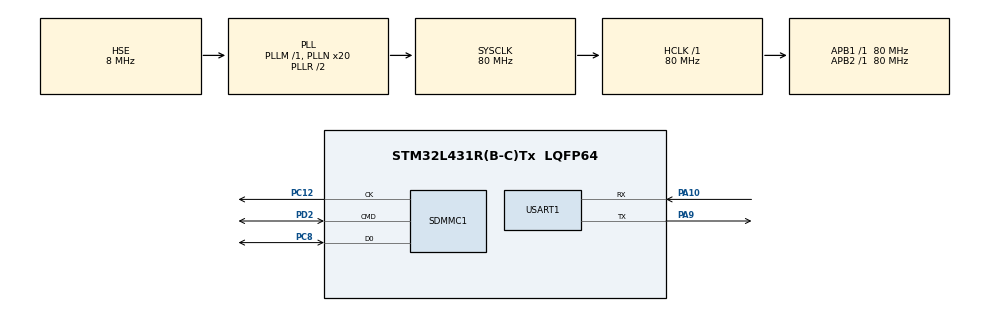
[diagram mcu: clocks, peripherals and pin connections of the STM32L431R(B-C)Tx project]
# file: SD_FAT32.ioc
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FATFS._CODE_PAGE=936
FATFS._USE_LFN=2
Mcu.Family=STM32L4
Mcu.Name=STM32L431R(B-C)Tx
Mcu.Package=LQFP64
NVIC.PriorityGroup=NVIC_PRIORITYGROUP_4
PA10.Mode=Asynchronous
PA10.Signal=USART1_RX
PA9.Mode=Asynchronous
PA9.Signal=USART1_TX
PC12.Mode=SD_1_bit
PC12.Signal=SDMMC1_CK
PC14-OSC32_IN\ (PC14).Mode=LSE-External-Oscillator
PC14-OSC32_IN\ (PC14).Signal=RCC_OSC32_IN
PC15-OSC32_OUT\ (PC15).Mode=LSE-External-Oscillator
PC15-OSC32_OUT\ (PC15).Signal=RCC_OSC32_OUT
PC8.Mode=SD_1_bit
PC8.Signal=SDMMC1_D0
PD2.Mode=SD_1_bit
PD2.Signal=SDMMC1_CMD
PH0-OSC_IN\ (PH0).Mode=HSE-External-Oscillator
PH0-OSC_IN\ (PH0).Signal=RCC_OSC_IN
PH1-OSC_OUT\ (PH1).Mode=HSE-External-Oscillator
PH1-OSC_OUT\ (PH1).Signal=RCC_OSC_OUT
ProjectManager.HeapSize=0x200
ProjectManager.StackSize=0x1000
ProjectManager.TargetToolchain=SW4STM32
RCC.ADCFreq_Value=32000000
RCC.AHBFreq_Value=80000000
RCC.APB1Freq_Value=80000000
RCC.APB1TimFreq_Value=80000000
RCC.APB2Freq_Value=80000000
RCC.APB2TimFreq_Value=80000000
RCC.CortexFreq_Value=80000000
RCC.HCLKFreq_Value=80000000
RCC.HSE_VALUE=8000000
RCC.HSI48_VALUE=48000000
RCC.HSI_VALUE=16000000
RCC.MSI_VALUE=4000000
RCC.PLLN=20
RCC.PLLSourceVirtual=RCC_PLLSOURCE_HSE
RCC.SYSCLKFreq_VALUE=80000000
RCC.SYSCLKSource=RCC_SYSCLKSOURCE_PLLCLK
RCC.VCOOutputFreq_Value=160000000
USART1.VirtualMode-Asynchronous=VM_ASYNC
VP_FATFS_VS_SDIO.Mode=SDIO
board=custom

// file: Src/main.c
/* USER CODE BEGIN Header */
/**
  ******************************************************************************
  * @file           : main.c
  * @brief          : Main program body
  ******************************************************************************
  * @attention
  *
  * <h2><center>&copy; Copyright (c) 2019 STMicroelectronics.
  * All rights reserved.</center></h2>
  *
  * This software component is licensed by ST under Ultimate Liberty license
  * SLA0044, the "License"; You may not use this file except in compliance with
  * the License. You may obtain a copy of the License at:
  *                             www.st.com/SLA0044
  *
  ******************************************************************************
  */
/* USER CODE END Header */

#include "main.h"
#include "fatfs.h"
#include "sdmmc.h"
#include "usart.h"
#include "gpio.h"
#if 1
#include <stdio.h>

int _write(int fd, char *ptr, int len)
{
    HAL_UART_Transmit(&huart1, (uint8_t*)ptr, len, 0xFFFF);
    return len;
}
#endif

/* USER CODE BEGIN PV */
FATFS fs; /*FATFS 文件系统对象*/
FRESULT fr; /*FATFS API 返回值*/
FIL fd; /* FATFS 文件对象*/

/* USER CODE END PV */

void SystemClock_Config(void);

int main(void)
{
  /* USER CODE BEGIN 1 */
  //要操作的文件名
  char filename[] = "test.txt";
  //文件要写入内容
  char write_dat[] = "abcd";
  //用于接收API返回写入成功的字节数
  uint16_t  write_num = 0;

  //用于存放从文件中读取出的内容
  char read_dat[20];
  //用于接收API返回成功读取的字节数
  uint16_t read_num = 0;

  /* USER CODE END 1 */

  /* MCU Configuration--------------------------------------------------------*/

  /* Reset of all peripherals, Initializes the Flash interface and the Systick. */
  HAL_Init();

  /* Configure the system clock */
  SystemClock_Config();

  /* Initialize all configured peripherals */
  MX_GPIO_Init();
  MX_SDMMC1_SD_Init();
  MX_USART1_UART_Init();
  MX_FATFS_Init();
  /* USER CODE BEGIN 2 */
  printf("FATFS test...\n");
  printf("write dat is \"%s\"\n", write_dat);
  /*挂载SD卡*/
  fr = f_mount(&fs, "", 0);
  if(fr == FR_OK){
      printf("SD card mount ok!\n");
  }
  else{
      printf("SD card mount error, error code:%d\n", fr);
  }

  /*打开文件（若文件不存在则创建）*/
  fr = f_open(&fd, filename, FA_CREATE_ALWAYS | FA_WRITE);
  if(fr == FR_OK){
      printf("open file \"%s\" OK!\n", filename);
  }
  else{
      printf("open file \"%s\" error : %d\n", filename, fr);
  }
  /*向打开的文件中写入内容*/
  fr = f_write(&fd, write_dat, sizeof(write_dat), (void*)&write_num);
  if(fr == FR_OK){
      printf("write %d dat to file \"%s\" ok\n", write_num, filename);
  }
  else{
      printf("write dat to file \"%s\" error,error code is:%d\n", filename, fr);
  }
  printf("write dat is \"%s\"\n", write_dat);
  /*操作完成，关闭文件*/
  fr = f_close(&fd);
  if(fr == FR_OK){
      printf("close file \"%s\" ok!\r\n", filename);
  }
  else{
      printf("close file \"%s\" error, error code is:%d.\r\n", filename, fr);
  }

  /* 打开文件用于读取 */
  fr = f_open(&fd, filename, FA_READ);
  if(fr == FR_OK)
  {
      printf("open file \"%s\" ok! \r\n", filename);
  }
  else{
      printf("open file \"%s\" error : %d\r\n", filename, fr);
  }
  /* 从打开的文件中读取内容 */
  fr = f_read(&fd, read_dat, sizeof(read_dat), (void *)&read_num);
  if(fr == FR_OK)
  {
      printf("read %d dat to file \"%s\" ok,dat is \"%s\".\r\n", read_num, filename, read_dat);
  }
  else{
      printf("read dat to file \"%s\" error,error code is:%d\r\n", filename, fr);
  }
  /* 操作完成，关闭文件 */
  fr = f_close(&fd);
  if(fr == FR_OK)
  {
      printf("close file \"%s\" ok!\r\n", filename);
  }
  else{
      printf("close file \"%s\" error, error code is:%d.\r\n", filename, fr);
  }

  /* USER CODE END 2 */

  /* Infinite loop */
  while (1)
  {

  }
}

void SystemClock_Config(void)
{
  RCC_OscInitTypeDef RCC_OscInitStruct = {0};
  RCC_ClkInitTypeDef RCC_ClkInitStruct = {0};
  RCC_PeriphCLKInitTypeDef PeriphClkInit = {0};

  /** Initializes the CPU, AHB and APB busses clocks
  */
  RCC_OscInitStruct.OscillatorType = RCC_OSCILLATORTYPE_HSE;
  RCC_OscInitStruct.HSEState = RCC_HSE_ON;
  RCC_OscInitStruct.PLL.PLLState = RCC_PLL_ON;
  RCC_OscInitStruct.PLL.PLLSource = RCC_PLLSOURCE_HSE;
  RCC_OscInitStruct.PLL.PLLM = 1;
  RCC_OscInitStruct.PLL.PLLN = 20;
  RCC_OscInitStruct.PLL.PLLP = RCC_PLLP_DIV7;
  RCC_OscInitStruct.PLL.PLLQ = RCC_PLLQ_DIV2;
  RCC_OscInitStruct.PLL.PLLR = RCC_PLLR_DIV2;
  if (HAL_RCC_OscConfig(&RCC_OscInitStruct) != HAL_OK)
  {
    Error_Handler();
  }
  /** Initializes the CPU, AHB and APB busses clocks
  */
  RCC_ClkInitStruct.ClockType = RCC_CLOCKTYPE_HCLK|RCC_CLOCKTYPE_SYSCLK
                              |RCC_CLOCKTYPE_PCLK1|RCC_CLOCKTYPE_PCLK2;
  RCC_ClkInitStruct.SYSCLKSource = RCC_SYSCLKSOURCE_PLLCLK;
  RCC_ClkInitStruct.AHBCLKDivider = RCC_SYSCLK_DIV1;
  RCC_ClkInitStruct.APB1CLKDivider = RCC_HCLK_DIV1;
  RCC_ClkInitStruct.APB2CLKDivider = RCC_HCLK_DIV1;

  if (HAL_RCC_ClockConfig(&RCC_ClkInitStruct, FLASH_LATENCY_4) != HAL_OK)
  {
    Error_Handler();
  }
  PeriphClkInit.PeriphClockSelection = RCC_PERIPHCLK_USART1|RCC_PERIPHCLK_SDMMC1;
  PeriphClkInit.Usart1ClockSelection = RCC_USART1CLKSOURCE_PCLK2;
  PeriphClkInit.Sdmmc1ClockSelection = RCC_SDMMC1CLKSOURCE_PLLSAI1;
  PeriphClkInit.PLLSAI1.PLLSAI1Source = RCC_PLLSOURCE_HSE;
  PeriphClkInit.PLLSAI1.PLLSAI1M = 1;
  PeriphClkInit.PLLSAI1.PLLSAI1N = 8;
  PeriphClkInit.PLLSAI1.PLLSAI1P = RCC_PLLP_DIV7;
  PeriphClkInit.PLLSAI1.PLLSAI1Q = RCC_PLLQ_DIV2;
  PeriphClkInit.PLLSAI1.PLLSAI1R = RCC_PLLR_DIV2;
  PeriphClkInit.PLLSAI1.PLLSAI1ClockOut = RCC_PLLSAI1_48M2CLK;
  if (HAL_RCCEx_PeriphCLKConfig(&PeriphClkInit) != HAL_OK)
  {
    Error_Handler();
  }
  /** Configure the main internal regulator output voltage
  */
  if (HAL_PWREx_ControlVoltageScaling(PWR_REGULATOR_VOLTAGE_SCALE1) != HAL_OK)
  {
    Error_Handler();
  }
}

void Error_Handler(void)
{
}

/************************ (C) COPYRIGHT STMicroelectronics *****END OF FILE****/
